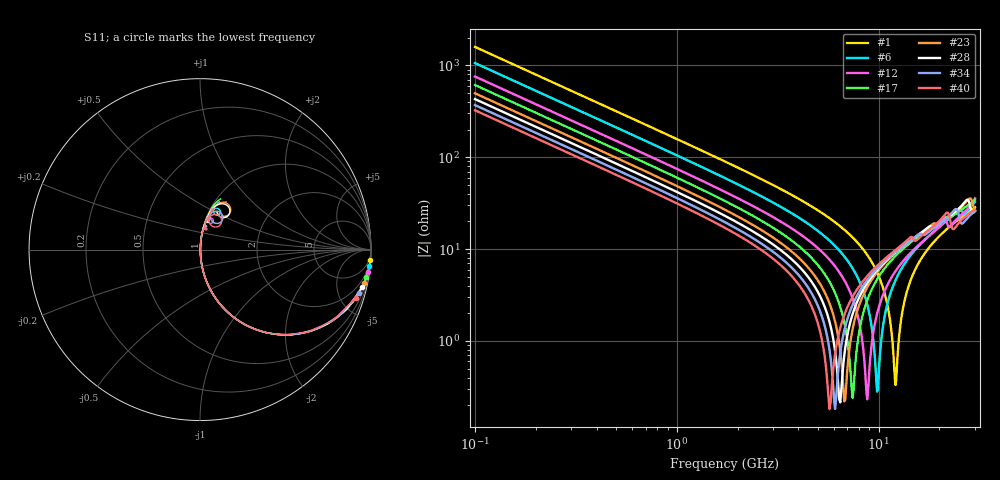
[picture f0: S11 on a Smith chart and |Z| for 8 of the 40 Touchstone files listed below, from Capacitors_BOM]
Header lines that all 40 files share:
!These Parameters are Measured in Series Mode Connection
!  o--ll--o
!Port1  Port2
!  o------o
!Operation Temp=25[degC], DC Bias Voltage=0[V]
!Freq. Start=100[MHz] Stop=30[GHz], 401[Steps]
!Data Generated on Feb 1, 2023
# Hz S RI R 50
!Freq.(Hz) S11(Real) S11(Imag) S21(Real) S21(Imag) S12(Real) S12(Imag) S22(Real) S22(Imag)
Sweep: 100 MHz to 30 GHz
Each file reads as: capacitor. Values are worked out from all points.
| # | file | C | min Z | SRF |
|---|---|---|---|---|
| 1 | GJM0225C1E1R0BB01_DC0V_25degC_series.s2p | 1 pF | 332 mohm | 12.12 GHz |
| 2 | GJM0225C1E1R1BB01_DC0V_25degC_series.s2p | 1.1 pF | 317 mohm | 11.53 GHz |
| 3 | GJM0225C1E1R2BB01_DC0V_25degC_series.s2p | 1.2 pF | 313 mohm | 10.87 GHz |
| 4 | GJM0225C1E1R3BB01_DC0V_25degC_series.s2p | 1.3 pF | 309 mohm | 10.55 GHz |
| 5 | GJM0225C1E1R4BB01_DC0V_25degC_series.s2p | 1.4 pF | 283 mohm | 10.18 GHz |
| 6 | GJM0225C1E1R5BB01_DC0V_25degC_series.s2p | 1.5 pF | 281 mohm | 9.84 GHz |
| 7 | GJM0225C1E1R6BB01_DC0V_25degC_series.s2p | 1.6 pF | 276 mohm | 9.659 GHz |
| 8 | GJM0225C1E1R7BB01_DC0V_25degC_series.s2p | 1.7 pF | 244 mohm | 9.586 GHz |
| 9 | GJM0225C1E1R8BB01_DC0V_25degC_series.s2p | 1.8 pF | 251 mohm | 9.406 GHz |
| 10 | GJM0225C1E1R9BB01_DC0V_25degC_series.s2p | 1.9 pF | 238 mohm | 9.228 GHz |
| 11 | GJM0225C1E2R0BB01_DC0V_25degC_series.s2p | 2 pF | 239 mohm | 8.974 GHz |
| 12 | GJM0225C1E2R1BB01_DC0V_25degC_series.s2p | 2.1 pF | 232 mohm | 8.772 GHz |
| 13 | GJM0225C1E2R2BB01_DC0V_25degC_series.s2p | 2.2 pF | 237 mohm | 8.593 GHz |
| 14 | GJM0225C1E2R3BB01_DC0V_25degC_series.s2p | 2.3 pF | 221 mohm | 8.389 GHz |
| 15 | GJM0225C1E2R4BB01_DC0V_25degC_series.s2p | 2.4 pF | 225 mohm | 8.14 GHz |
| 16 | GJM0225C1E2R5BB01_DC0V_25degC_series.s2p | 2.5 pF | 252 mohm | 7.541 GHz |
| 17 | GJM0225C1E2R6BB01_DC0V_25degC_series.s2p | 2.6 pF | 239 mohm | 7.428 GHz |
| 18 | GJM0225C1E2R7BB01_DC0V_25degC_series.s2p | 2.7 pF | 240 mohm | 7.29 GHz |
| 19 | GJM0225C1E2R8BB01_DC0V_25degC_series.s2p | 2.8 pF | 249 mohm | 7.16 GHz |
| 20 | GJM0225C1E2R9BB01_DC0V_25degC_series.s2p | 2.9 pF | 241 mohm | 6.958 GHz |
| 21 | GJM0225C1E3R0BB01_DC0V_25degC_series.s2p | 3 pF | 241 mohm | 6.876 GHz |
| 22 | GJM0225C1E3R1BB01_DC0V_25degC_series.s2p | 3.1 pF | 235 mohm | 6.765 GHz |
| 23 | GJM0225C1E3R2BB01_DC0V_25degC_series.s2p | 3.2 pF | 220 mohm | 6.785 GHz |
| 24 | GJM0225C1E3R3BB01_DC0V_25degC_series.s2p | 3.3 pF | 208 mohm | 6.682 GHz |
| 25 | GJM0225C1E3R4BB01_DC0V_25degC_series.s2p | 3.4 pF | 212 mohm | 6.583 GHz |
| 26 | GJM0225C1E3R5BB01_DC0V_25degC_series.s2p | 3.5 pF | 218 mohm | 6.559 GHz |
| 27 | GJM0225C1E3R6BB01_DC0V_25degC_series.s2p | 3.6 pF | 210 mohm | 6.516 GHz |
| 28 | GJM0225C1E3R7BB01_DC0V_25degC_series.s2p | 3.7 pF | 215 mohm | 6.428 GHz |
| 29 | GJM0225C1E3R8BB01_DC0V_25degC_series.s2p | 3.8 pF | 216 mohm | 6.423 GHz |
| 30 | GJM0225C1E3R9BB01_DC0V_25degC_series.s2p | 3.9 pF | 219 mohm | 6.341 GHz |
| 31 | GJM0225C1E4R0BB01_DC0V_25degC_series.s2p | 4 pF | 185 mohm | 6.314 GHz |
| 32 | GJM0225C1E4R1BB01_DC0V_25degC_series.s2p | 4.1 pF | 184 mohm | 6.236 GHz |
| 33 | GJM0225C1E4R2BB01_DC0V_25degC_series.s2p | 4.2 pF | 183 mohm | 6.162 GHz |
| 34 | GJM0225C1E4R3BB01_DC0V_25degC_series.s2p | 4.3 pF | 182 mohm | 6.08 GHz |
| 35 | GJM0225C1E4R4BB01_DC0V_25degC_series.s2p | 4.4 pF | 182 mohm | 6.011 GHz |
| 36 | GJM0225C1E4R5BB01_DC0V_25degC_series.s2p | 4.5 pF | 185 mohm | 5.947 GHz |
| 37 | GJM0225C1E4R6BB01_DC0V_25degC_series.s2p | 4.6 pF | 189 mohm | 5.883 GHz |
| 38 | GJM0225C1E4R7BB01_DC0V_25degC_series.s2p | 4.7 pF | 184 mohm | 5.839 GHz |
| 39 | GJM0225C1E4R8BB01_DC0V_25degC_series.s2p | 4.8 pF | 180 mohm | 5.778 GHz |
| 40 | GJM0225C1E4R9BB01_DC0V_25degC_series.s2p | 4.9 pF | 181 mohm | 5.719 GHz |
